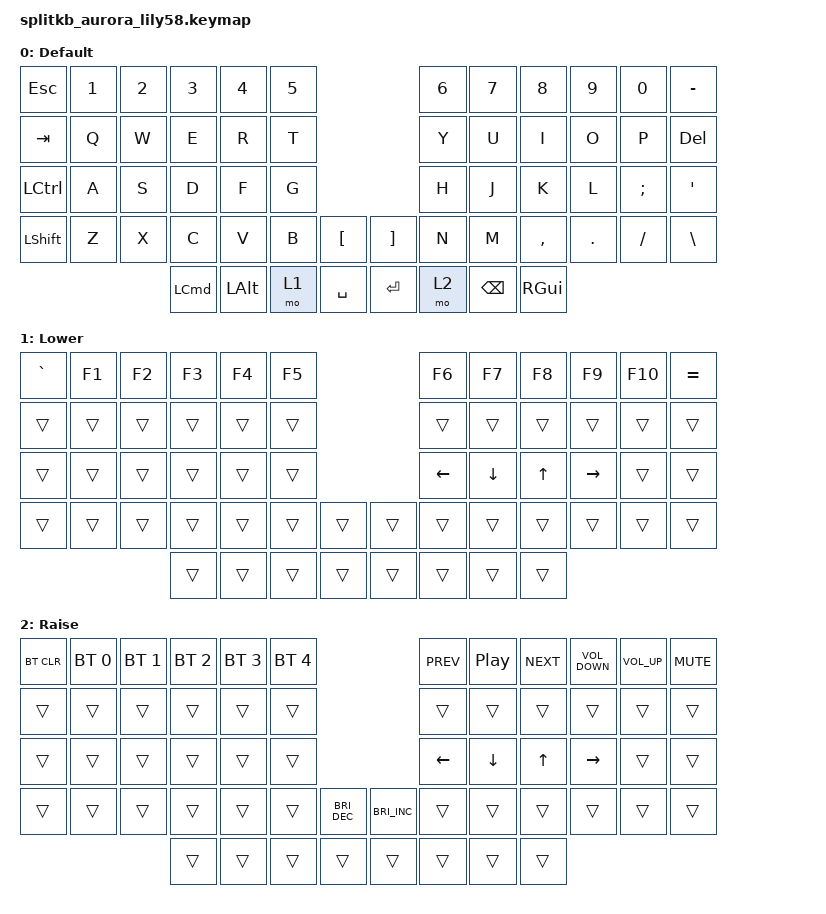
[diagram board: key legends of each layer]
/*
 * Copyright (c) 2022 The ZMK Contributors
 *
 * SPDX-License-Identifier: MIT
 */

#include <behaviors.dtsi>
#include <dt-bindings/zmk/keys.h>
#include <dt-bindings/zmk/bt.h>
#include <dt-bindings/zmk/ext_power.h>

/ {
    keymap {
        compatible = "zmk,keymap";

        default_layer {
            display-name = "Default";
            bindings = <
&kp ESC    &kp N1  &kp N2  &kp N3    &kp N4        &kp N5                         &kp N6  &kp N7    &kp N8     &kp N9   &kp N0    &kp MINUS
&kp TAB    &kp Q   &kp W   &kp E     &kp R         &kp T                          &kp Y   &kp U     &kp I      &kp O    &kp P     &kp DELETE
&kp LCTRL  &kp A   &kp S   &kp D     &kp F         &kp G                          &kp H   &kp J     &kp K      &kp L    &kp SEMI  &kp SQT
&kp LSHFT  &kp Z   &kp X   &kp C     &kp V         &kp B   &kp LBKT     &kp RBKT  &kp N   &kp M     &kp COMMA  &kp DOT  &kp FSLH  &kp BACKSLASH
                           &kp LCMD  &kp LEFT_ALT  &mo 1   &kp SPACE    &kp RET   &mo 2   &kp BSPC  &kp RGUI
            >;
        };

        lower_layer {
            display-name = "Lower";
            bindings = <
&kp GRAVE  &kp F1  &kp F2  &kp F3  &kp F4  &kp F5                    &kp F6          &kp F7          &kp F8        &kp F9           &kp F10  &kp EQUAL
&trans     &trans  &trans  &trans  &trans  &trans                    &trans          &trans          &trans        &trans           &trans   &trans
&trans     &trans  &trans  &trans  &trans  &trans                    &kp LEFT_ARROW  &kp DOWN_ARROW  &kp UP_ARROW  &kp RIGHT_ARROW  &trans   &trans
&trans     &trans  &trans  &trans  &trans  &trans  &trans    &trans  &trans          &trans          &trans        &trans           &trans   &trans
                           &trans  &trans  &trans  &trans    &trans  &trans          &trans          &trans
            >;
        };

        raise_layer {
            display-name = "Raise";
            bindings = <
&bt BT_CLR  &bt BT_SEL 0  &bt BT_SEL 1  &bt BT_SEL 2  &bt BT_SEL 3  &bt BT_SEL 4                                                &kp C_PREV      &kp C_PLAY_PAUSE  &kp C_NEXT    &kp C_VOLUME_DOWN  &kp C_VOLUME_UP  &kp C_MUTE
&trans      &trans        &trans        &trans        &trans        &trans                                                      &trans          &trans            &trans        &trans             &trans           &trans
&trans      &trans        &trans        &trans        &trans        &trans                                                      &kp LEFT_ARROW  &kp DOWN_ARROW    &kp UP_ARROW  &kp RIGHT_ARROW     &trans          &trans
&trans      &trans        &trans        &trans        &trans        &trans        &kp C_BRIGHTNESS_DEC    &kp C_BRIGHTNESS_INC  &trans          &trans            &trans        &trans             &trans           &trans
                                        &trans        &trans        &trans        &trans                  &trans                &trans          &trans            &trans
            >;
        };
    };
};
